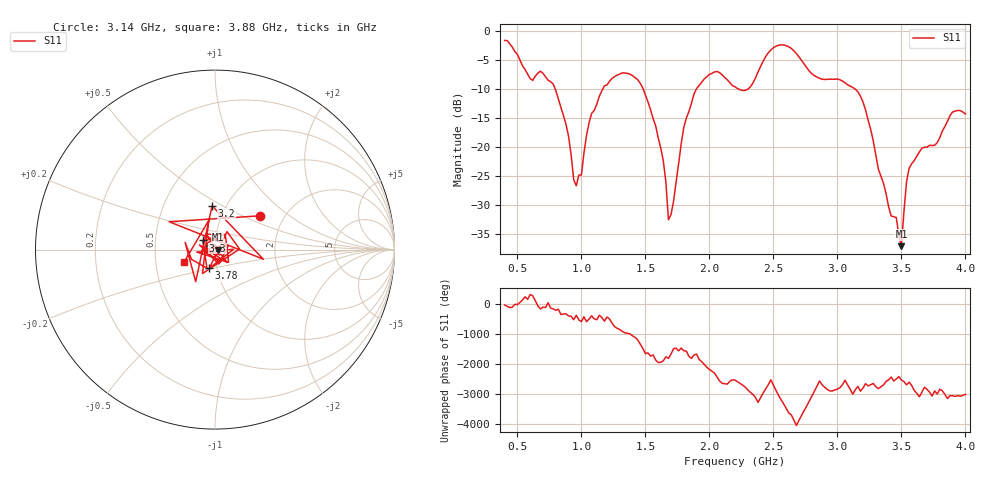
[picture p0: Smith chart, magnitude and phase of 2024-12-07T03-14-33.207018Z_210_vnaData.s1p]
!Created with skrf (http://scikit-rf.org).
# Hz S RI R 50.0
!freq ReS11 ImS11
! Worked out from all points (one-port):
!   181 points, 400 MHz to 4 GHz, reference 50 ohm
!   lowest |S11| = -37.1 dB at 3.5 GHz (marker M1), VSWR 1.03, Z = 51.4 + j0.0265 ohm
!   |S11| at or under -10 dB: 795.2 MHz to 1.167 GHz (371.7 MHz wide, 37.9 % of centre); 1.483 GHz to 1.898 GHz (415.4 MHz wide, 24.6 % of centre); 3.138 GHz to end of sweep (the widest 3 of 4)
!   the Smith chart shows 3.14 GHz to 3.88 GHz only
!   S11 on the Smith chart (normalised r, x): 3.14 GHz: 1.52, +0.63; 3.2 GHz: 0.86, +0.45; 3.3 GHz: 0.87, +0.09; 3.78 GHz: 0.92, -0.19; 3.88 GHz: 0.70, -0.10
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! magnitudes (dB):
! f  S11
! 400 MHz  -1.6
! 600 MHz  -8.2
! 780 MHz  -9.2
! 860 MHz  -14.6
! 960 MHz  -26.7
! 1 GHz  -24.8
! 1.08 GHz  -14.2
! 1.3 GHz  -7.4
! 1.52 GHz  -12.2
! 1.64 GHz  -22.4
! 1.68 GHz  -32.6
! 1.76 GHz  -22.8
! 1.8 GHz  -16.6
! 1.9 GHz  -9.9
! 2.06 GHz  -7.0
! 2.2 GHz  -9.6
! 2.32 GHz  -9.6
! 2.5 GHz  -2.9
! 2.66 GHz  -3.4
! 3.1 GHz  -9.5
! 3.14 GHz  -10.0
! 3.2 GHz  -12.2
! 3.3 GHz  -21.4
! 3.5 GHz  -37.1
! 3.56 GHz  -23.7
! 3.78 GHz  -19.3
! 3.88 GHz  -14.6
! 4 GHz  -14.3
